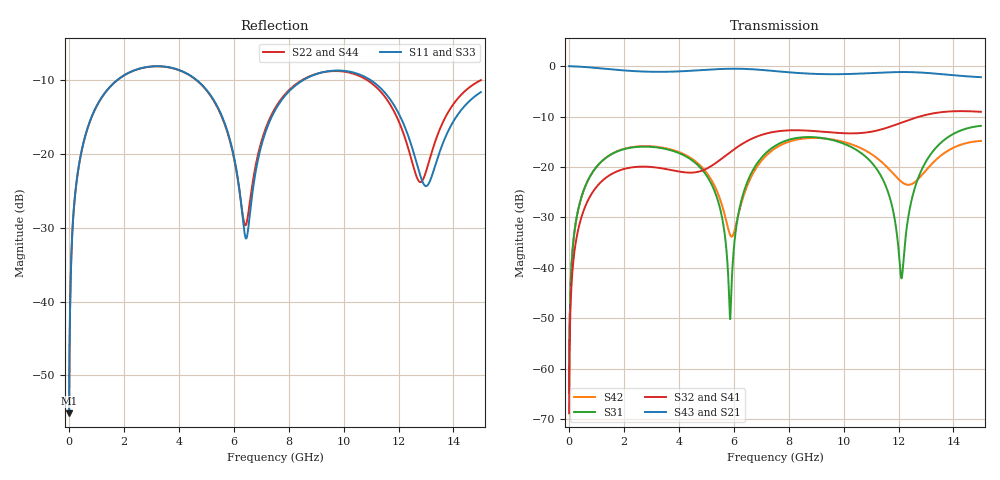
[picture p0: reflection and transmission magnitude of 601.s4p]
! Created with skrf 1.8.0 (http://scikit-rf.org).
# GHz S RI R 50.0
!freq ReS11 ImS11 ReS12 ImS12 ReS13 ImS13
! ReS14 ImS14
! ReS21 ImS21 ReS22 ImS22 ReS23 ImS23
! ReS24 ImS24
! ReS31 ImS31 ReS32 ImS32 ReS33 ImS33
! ReS34 ImS34
! ReS41 ImS41 ReS42 ImS42 ReS43 ImS43
! ReS44 ImS44
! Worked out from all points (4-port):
!   2499 points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, 5 MHz to 15 GHz, reference 50 ohm
!   strongest paths, dB at 5 MHz, 3.476 GHz, 7.19 GHz, 11.1 GHz, 15 GHz:
!     S43: 0.0, -1.1, -0.8, -1.4, -2.2
!     S21: 0.0, -1.1, -0.8, -1.4, -2.2
!     S32: -68.9, -20.4, -13.4, -12.9, -9.1
!     S41: -68.9, -20.4, -13.4, -12.9, -9.1
!     S31: -64.9, -16.4, -17.1, -19.6, -11.9
!     S42: -64.9, -16.2, -17.7, -17.8, -14.9
!   lowest |S11| = -55.1 dB at 5 MHz (marker M1), VSWR 1.00, Z = 50.1 + j0.106 ohm
!   |S11| at or under -10 dB: start of sweep to 1.757 GHz; 4.651 GHz to 8.53 GHz (3.879 GHz wide, 58.9 % of centre); 10.98 GHz to end of sweep
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0.005  0.0014 0.00106  0.9986 -0.00272  6.99e-05 0.000567  -6.78e-05 -0.000353
       0.9986 -0.00272  0.0014 0.00106  -6.78e-05 -0.000353  6.99e-05 0.000567
       6.99e-05 0.000567  -6.78e-05 -0.000353  0.0014 0.00106  0.9986 -0.00272
       -6.78e-05 -0.000353  6.99e-05 0.000567  0.9986 -0.00272  0.0014 0.00106
0.3626511  0.0229 0.0807  0.9685 -0.196  0.0108 0.0391  -0.00904 -0.0241
           0.9685 -0.196  0.0229 0.0807  -0.00904 -0.0241  0.011 0.0391
           0.0108 0.0391  -0.00904 -0.0241  0.023 0.0807  0.9685 -0.1959
           -0.00904 -0.0241  0.011 0.0391  0.9685 -0.1959  0.0229 0.0807
1.619545  0.2341 0.1884  0.6233 -0.6825  0.1155 0.0735  -0.0851 -0.0182
          0.6233 -0.6825  0.2335 0.1886  -0.0851 -0.0182  0.1178 0.0709
          0.1155 0.0735  -0.0851 -0.0182  0.2341 0.1883  0.6234 -0.6825
          -0.0851 -0.0182  0.1178 0.0709  0.6234 -0.6825  0.2335 0.1886
5.864944  0.0565 -0.1104  -0.8797 -0.3347  0.00309 0.000128  -0.0452 0.1322
          -0.8797 -0.3347  0.0607 -0.1051  -0.0454 0.1322  -0.0191 -0.00938
          0.00309 0.000128  -0.0454 0.1322  0.0557 -0.1093  -0.8799 -0.3346
          -0.0452 0.1322  -0.0191 -0.00938  -0.8799 -0.3346  0.0605 -0.1037
6.440183  0.0266 -0.00346  -0.9354 -0.0578  0.0165 0.0627  -0.0059 0.1774
          -0.9354 -0.0578  0.033 0.00142  -0.00615 0.1774  -0.00708 0.0596
          0.0165 0.0627  -0.00615 0.1774  0.0261 -0.00204  -0.9355 -0.0577
          -0.0059 0.1774  -0.00708 0.0596  -0.9355 -0.0577  0.0333 0.00285
12.1113  0.1107 -0.1309  0.7411 0.4608  0.00781 0.000679  0.1376 -0.238
         0.7411 0.4608  0.1026 -0.1083  0.1384 -0.2378  -0.0594 -0.039
         0.00781 0.000679  0.1384 -0.2378  0.1077 -0.1269  0.7413 0.462
         0.1376 -0.238  -0.0594 -0.039  0.7413 0.462  0.101 -0.1037
15  0.2402 0.1053  0.5225 -0.5775  0.2551 -0.0117  -0.3036 -0.1756
    0.5225 -0.5775  0.298 0.1049  -0.3044 -0.177  0.173 0.0527
    0.2551 -0.0117  -0.3044 -0.177  0.242 0.1145  0.5233 -0.5739
    -0.3036 -0.1756  0.173 0.0527  0.5233 -0.5739  0.3055 0.1063
